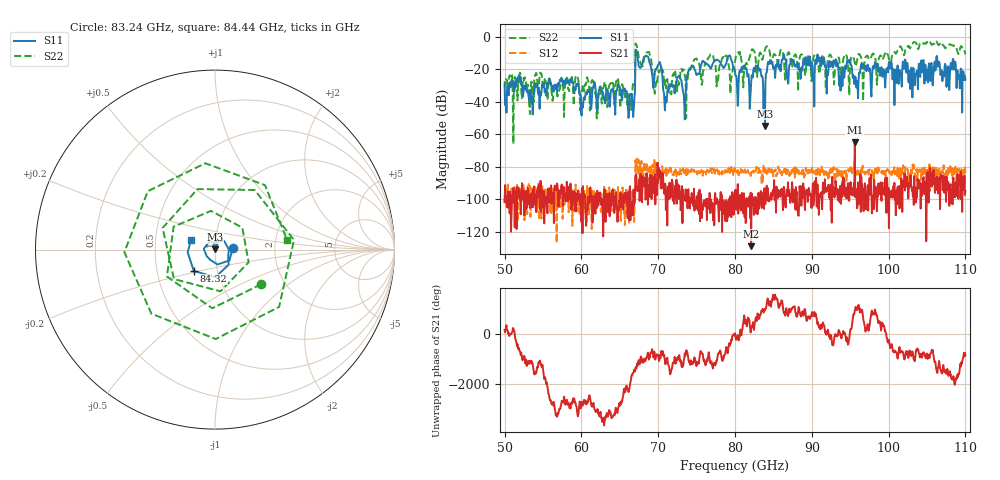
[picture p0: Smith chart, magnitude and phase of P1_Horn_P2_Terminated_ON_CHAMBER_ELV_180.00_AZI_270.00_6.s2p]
! 11/26/2026 11:22:36 AM
! C:\ANRITSUVNA\TEMP\TEMP.S2P
! CHANNEL.1
! TR.MEASUREMENT
! RAW.DATA
# HZ S RI R 50.0
! FREQ.HZ  S11RE  S11IM  S21RE  S21IM  S12RE  S12IM  S22RE  S22IM
!; PortSelection: Port_12
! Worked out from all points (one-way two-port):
!   1001 points, 50 GHz to 110 GHz, reference 50 ohm
!   highest |S21| = -64.93 dB at 95.6 GHz (marker M1); lowest = -128.9 dB at 82.1 GHz (marker M2)
!   lowest |S11| = -54.9 dB at 83.9 GHz (marker M3), VSWR 1.00, Z = 49.8 + j0.0614 ohm
!   |S11| at or under -10 dB: start of sweep to 67.04 GHz; 67.24 GHz to end of sweep
!   |S22| runs from -65.8 to -2.3 dB; largest |S21 - S12| = 0.00064
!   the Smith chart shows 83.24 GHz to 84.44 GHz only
!   S11 on the Smith chart (normalised r, x): 83.24 GHz: 1.22, +0.02; 84.32 GHz: 0.77, -0.19; 84.44 GHz: 0.76, +0.08
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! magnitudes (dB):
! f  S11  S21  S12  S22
! 50 GHz  -29.4  -101.8  -101.9  -27.3
! 58.46 GHz  -26.9  -99.8  -95.4  -28.8
! 60.02 GHz  -48.5  -114.1  -97.0  -33.8
! 66.26 GHz  -39.6  -94.8  -105.9  -36.1
! 66.68 GHz  -43.0  -109.9  -100.2  -30.4
! 67.34 GHz  -13.7  -92.4  -85.1  -8.4
! 70.04 GHz  -17.1  -80.5  -84.7  -21.0
! 71 GHz  -37.0  -106.6  -81.1  -31.8
! 72.74 GHz  -23.9  -91.6  -85.0  -29.0
! 73.4 GHz  -42.1  -98.3  -84.1  -22.3
! 75.92 GHz  -15.4  -100.7  -82.8  -20.7
! 80 GHz  -21.3  -103.7  -83.0  -15.6
! 82.1 GHz  -27.5  -128.9  -83.6  -9.2
! 83.24 GHz  -20.1  -102.4  -82.4  -9.9
! 83.9 GHz  -54.9  -101.2  -84.8  -8.0
! 84.32 GHz  -15.5  -98.5  -83.5  -6.3
! 84.44 GHz  -16.8  -101.4  -82.6  -7.8
! 90.02 GHz  -15.9  -99.0  -80.7  -24.0
! 94.88 GHz  -14.3  -101.0  -82.7  -36.1
! 95.6 GHz  -27.2  -64.9  -75.2  -15.7
! 100 GHz  -15.7  -117.9  -81.1  -13.5
! 110 GHz  -26.4  -95.0  -83.5  -10.9
